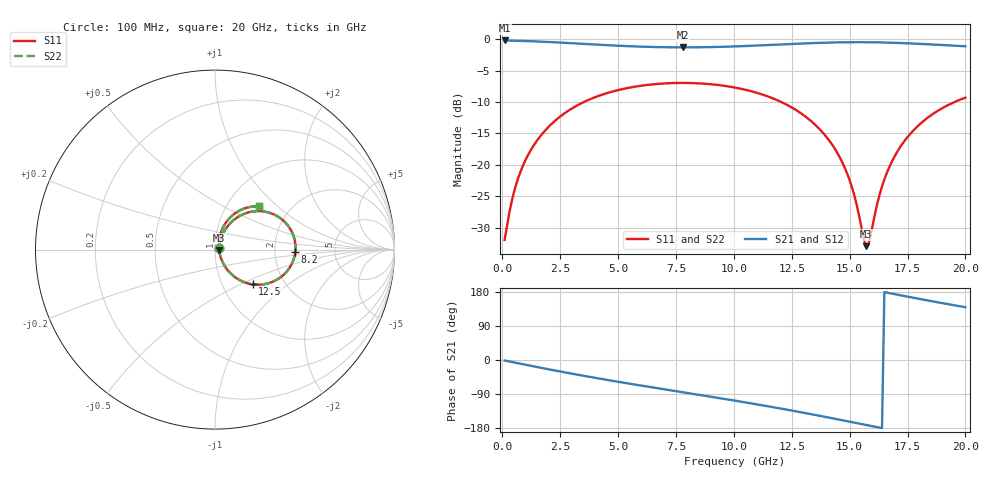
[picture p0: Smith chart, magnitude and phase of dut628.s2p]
! Touchstone file exported from HFSS 2026.1.0
!  File:  C:/ffzhzh/LocalFiles/Ansys_Project_Files/temp_train_TSV_RDL_628_1783125727_35180.aedt
!  Generated:  08:52:53 AM Jul  4, 2026
!  Design:  TSV_RDL
!  Project:  temp_train_TSV_RDL_628_1783125727_35180
! Variables:
!  h_bsmrdl = 2.45um
!  h_ox = 20um
!  h_rdl = 5um
!  h_sub = 64.16um
!  h_tmrdl = 4.94um
!  h_tsv = 64.16um
!  h_via = 3um
!  l_bsmrdl = 517.52um
!  l_sub = 3736.27um
!  l_tmrdl = 420.78um
!  m_sub = 200um
!  pitch = 33.36um
!  r_tsv = 5.68um
!  s_tmrdl = 10um
!  w_bsmrdl = 21.58um
!  w_sub = 500um
!  w_tmrdl = 11.95um
!  x_tsv_center1 = 426.755um
!  x_tsv_center2 = 965.855um
!  x_tsv_center3 = 1398.585um
!  x_tsv_center4 = 1937.685um
!  x_tsv_center5 = 2370.415um
!  x_tsv_center6 = 2909.515um
# GHz S MA R 50.000000
! Terminal data exported
! Port[1] = TM_RDL1_1_T1
! Port[2] = TM_RDL5_1_T1
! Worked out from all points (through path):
!   200 points, 100 MHz to 20 GHz, reference 50 ohm
!   highest |S21| = -0.20 dB at 100 MHz (marker M1); lowest = -1.3 dB at 7.8 GHz (marker M2)
!   group delay of S21, straight-line fit = 30 ps
!   lowest |S11| = -33.0 dB at 15.7 GHz (marker M3), VSWR 1.05, Z = 52.3 - j0.182 ohm
!   |S11| at or under -10 dB: start of sweep to 3.524 GHz; 12.05 GHz to 19.53 GHz (7.487 GHz wide, 47.4 % of centre)
!   |S22| runs from -32.6 to -7.0 dB; largest |S21 - S12| = 1.9e-14
!   S11 on the Smith chart (normalised r, x): 100 MHz: 1.05, +0.02; 8.2 GHz: 2.62, -0.08; 12.5 GHz: 1.39, -0.59; 20 GHz: 1.40, +0.76
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0.1  0.02522 26.2  0.9776 -1.3  0.9776 -1.3  0.02522 26.2
! Gamma 0 0 0 0
! Port Impedance 50 0 50 0
0.4  0.05053 56.2  0.9745 -5.1  0.9745 -5.1  0.05053 56.2
0.6  0.06991 61.1  0.9721 -7.6  0.9721 -7.6  0.06991 61.1
1.2  0.1278 62.6  0.9645 -14.9  0.9645 -14.9  0.1278 62.6
2.2  0.2177 55.4  0.9467 -26.9  0.9467 -26.9  0.2177 55.4
3.5  0.3147 42.9  0.9183 -41.6  0.9183 -41.6  0.3147 42.9
6.8  0.442 11.4  0.865 -75.4  0.865 -75.4  0.442 11.4
7.8  0.4488 2.2  0.8613 -85.1  0.8613 -85.1  0.4488 2.2
8.2  0.4475 -1.5  0.8617 -89.0  0.8617 -89.0  0.4475 -1.5
10.1  0.4104 -19.3  0.8771 -107.8  0.8771 -107.8  0.4104 -19.2
12.5  0.2861 -42.6  0.9169 -133.4  0.9169 -133.4  0.2862 -42.5
13.4  0.2177 -51.2  0.9314 -143.7  0.9314 -143.7  0.2177 -51.0
14.2  0.1487 -57.6  0.9412 -153.1  0.9412 -153.1  0.1489 -57.3
14.8  0.09386 -59.5  0.9455 -160.3  0.9455 -160.3  0.09404 -59.0
15.2  0.05724 -55.1  0.9468 -165.2  0.9468 -165.2  0.05758 -54.3
15.7  0.02248 -4.4  0.9464 -171.2  0.9464 -171.2  0.02342 -3.9
15.8  0.02278 19.2  0.9461 -172.5  0.9461 -172.5  0.02372 18.7
16.3  0.05834 67.0  0.9431 -178.5  0.9431 -178.5  0.05875 66.1
16.7  0.09464 71.1  0.9392 176.7  0.9392 176.7  0.09492 70.5
17.3  0.1487 69.1  0.9311 169.5  0.9311 169.5  0.1489 68.7
18  0.2079 63.7  0.919 161.4  0.919 161.4  0.2081 63.4
20  0.3424 44.9  0.8787 139.3  0.8787 139.3  0.3425 44.7
